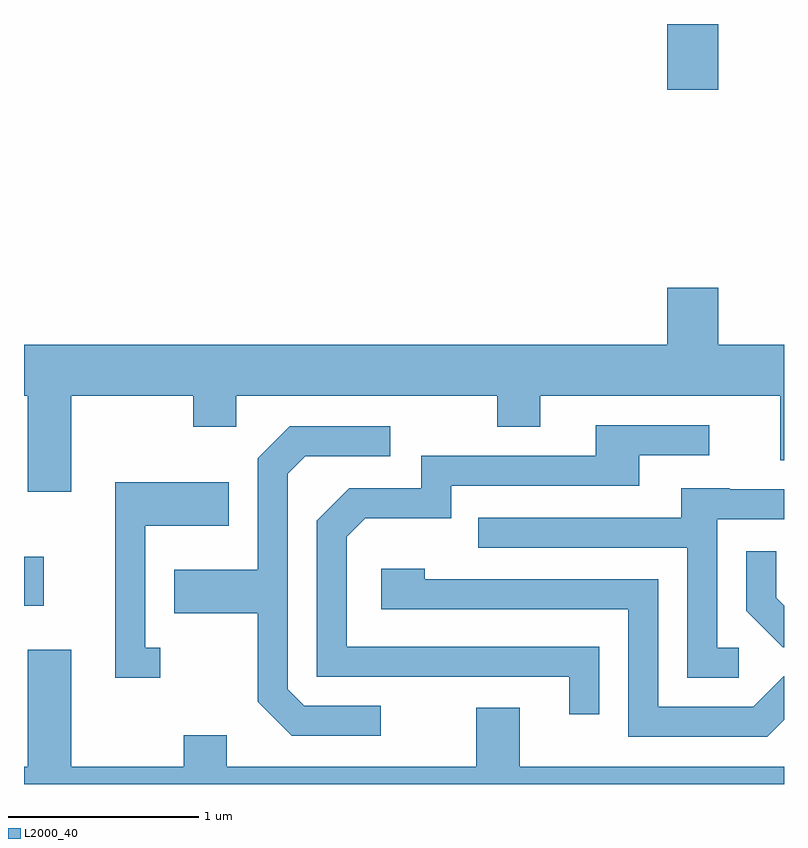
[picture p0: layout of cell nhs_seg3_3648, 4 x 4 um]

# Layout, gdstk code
import gdstk
lib = gdstk.Library(unit=1e-6, precision=1e-09)
def R(c, l, rs):  # rectangles x0, y0, x1, y1
    for r in rs: c.add(gdstk.rectangle(r[:2], r[2:], *l))
def P(c, l, *ps):  # polygons
    for p in ps: c.add(gdstk.Polygon(p, *l))
L2000_40 = (2000, 40)

nhs_seg3_3648 = lib.new_cell('nhs_seg3_3648')
R(nhs_seg3_3648, L2000_40, [(291.611,1204.831,291.714,1205.089), (294.996,1207.546,295.264,1207.892)])
P(nhs_seg3_3648, L2000_40, [(291.859,1205.936),(292.501,1205.936),(292.501,1205.771),(292.729,1205.771),(292.729,1205.936),(294.101,1205.936),(294.101,1205.771),(294.329,1205.771),(294.329,1205.936),(295.591,1205.936),(295.591,1205.596),(295.611,1205.596),(295.611,1206.204),(295.264,1206.204),(295.264,1206.504),(294.996,1206.504),(294.996,1206.204),(291.611,1206.204),(291.611,1205.936),(291.631,1205.936),(291.631,1205.431),(291.859,1205.431)],
  [(294.639,1204.614),(293.309,1204.614),(293.309,1205.194),(293.407,1205.291),(293.859,1205.291),(293.859,1205.461),(294.849,1205.461),(294.849,1205.621),(295.218,1205.621),(295.218,1205.779),(294.621,1205.779),(294.621,1205.619),(293.701,1205.619),(293.701,1205.449),(293.324,1205.449),(293.151,1205.277),(293.151,1204.456),(294.481,1204.456),(294.481,1204.258),(294.639,1204.258)],
  [(293.488,1204.304),(293.087,1204.304),(292.999,1204.392),(292.999,1205.524),(293.092,1205.616),(293.538,1205.616),(293.538,1205.774),(293.009,1205.774),(292.841,1205.607),(292.841,1205.019),(292.401,1205.019),(292.401,1204.791),(292.841,1204.791),(292.841,1204.324),(293.019,1204.146),(293.488,1204.146)],
  [(292.328,1204.609),(292.249,1204.609),(292.249,1205.251),(292.689,1205.251),(292.689,1205.479),(292.091,1205.479),(292.091,1204.451),(292.328,1204.451)],
  [(295.373,1204.609),(295.259,1204.609),(295.259,1205.286),(295.611,1205.286),(295.611,1205.444),(295.325,1205.444),(295.325,1205.449),(295.071,1205.449),(295.071,1205.294),(294.003,1205.294),(294.003,1205.136),(295.101,1205.136),(295.101,1204.451),(295.373,1204.451)],
  [(295.611,1204.83),(295.569,1204.872),(295.569,1205.118),(295.411,1205.118),(295.411,1204.804),(295.604,1204.611),(295.611,1204.611)],
  [(295.611,1204.23),(295.611,1204.459),(295.609,1204.459),(295.449,1204.299),(294.949,1204.299),(294.949,1204.969),(293.719,1204.969),(293.719,1205.024),(293.491,1205.024),(293.491,1204.811),(294.791,1204.811),(294.791,1204.141),(295.522,1204.141)],
  [(295.611,1203.984),(294.219,1203.984),(294.219,1204.294),(293.991,1204.294),(293.991,1203.984),(292.679,1203.984),(292.679,1204.149),(292.451,1204.149),(292.451,1203.984),(291.859,1203.984),(291.859,1204.599),(291.631,1204.599),(291.631,1203.984),(291.611,1203.984),(291.611,1203.892),(295.611,1203.892)])

lib.write_gds('nhs_seg3_3648.gds')
